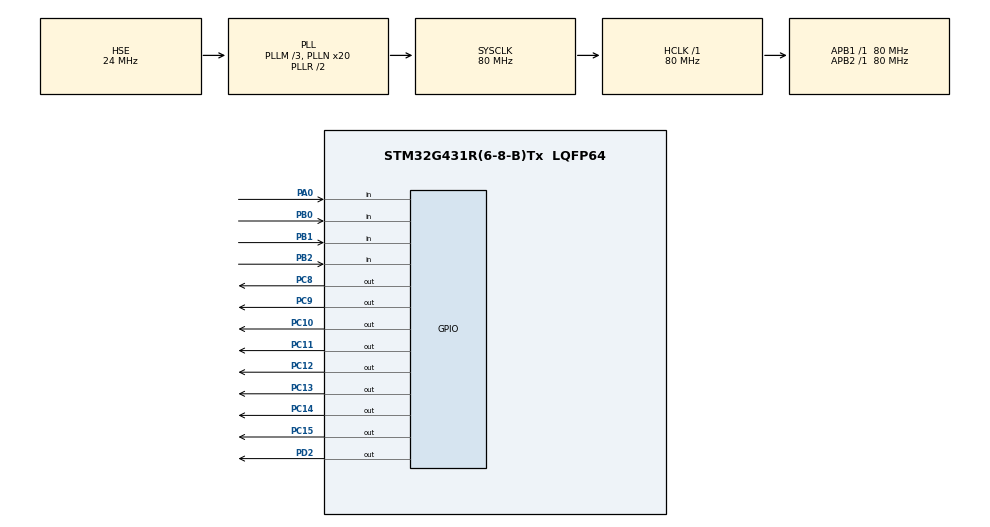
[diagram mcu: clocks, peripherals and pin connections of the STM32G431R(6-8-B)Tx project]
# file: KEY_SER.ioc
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Mcu.Family=STM32G4
Mcu.Name=STM32G431R(6-8-B)Tx
Mcu.Package=LQFP64
NVIC.PriorityGroup=NVIC_PRIORITYGROUP_4
PA0.GPIO_PuPd=GPIO_PULLUP
PA0.Signal=GPIO_Input
PA13.Mode=Serial_Wire
PA13.Signal=SYS_JTMS-SWDIO
PA14.Mode=Serial_Wire
PA14.Signal=SYS_JTCK-SWCLK
PB0.GPIO_PuPd=GPIO_PULLUP
PB0.Signal=GPIO_Input
PB1.GPIO_PuPd=GPIO_PULLUP
PB1.Signal=GPIO_Input
PB2.GPIO_PuPd=GPIO_PULLUP
PB2.Signal=GPIO_Input
PC10.Signal=GPIO_Output
PC11.Signal=GPIO_Output
PC12.Signal=GPIO_Output
PC13.Signal=GPIO_Output
PC14-OSC32_IN.Signal=GPIO_Output
PC15-OSC32_OUT.Signal=GPIO_Output
PC8.Signal=GPIO_Output
PC9.Signal=GPIO_Output
PD2.Signal=GPIO_Output
PF0-OSC_IN.Mode=HSE-External-Oscillator
PF0-OSC_IN.Signal=RCC_OSC_IN
PF1-OSC_OUT.Mode=HSE-External-Oscillator
PF1-OSC_OUT.Signal=RCC_OSC_OUT
ProjectManager.HeapSize=0x200
ProjectManager.StackSize=0x400
ProjectManager.TargetToolchain=MDK-ARM V5.32
RCC.ADC12Freq_Value=80000000
RCC.AHBFreq_Value=80000000
RCC.APB1Freq_Value=80000000
RCC.APB1TimFreq_Value=80000000
RCC.APB2Freq_Value=80000000
RCC.APB2TimFreq_Value=80000000
RCC.CortexFreq_Value=80000000
RCC.EXTERNAL_CLOCK_VALUE=12288000
RCC.HCLKFreq_Value=80000000
RCC.HSE_VALUE=24000000
RCC.HSI48_VALUE=48000000
RCC.HSI_VALUE=16000000
RCC.LSE_VALUE=32768
RCC.PLLM=RCC_PLLM_DIV3
RCC.PLLN=20
RCC.PLLSourceVirtual=RCC_PLLSOURCE_HSE
RCC.SYSCLKFreq_VALUE=80000000
RCC.SYSCLKSource=RCC_SYSCLKSOURCE_PLLCLK
RCC.USBFreq_Value=80000000
RCC.VCOOutputFreq_Value=160000000
VP_SYS_VS_DBSignals.Mode=DisableDeadBatterySignals
board=custom

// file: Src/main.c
/* USER CODE BEGIN Header */
/**
  ******************************************************************************
  * @file           : main.c
  * @brief          : Main program body
  ******************************************************************************
  * @attention
  *
  * Copyright (c) 2024 STMicroelectronics.
  * All rights reserved.
  *
  * This software is licensed under terms that can be found in the LICENSE file
  * in the root directory of this software component.
  * If no LICENSE file comes with this software, it is provided AS-IS.
  *
  ******************************************************************************
  */
/* USER CODE END Header */
#include "main.h"
#include "gpio.h"

/* USER CODE BEGIN PD */
uint8_t KEY_Read()
{
  uint8_t key_value;
	if(HAL_GPIO_ReadPin(GPIOA,GPIO_PIN_0)==0)
	{
	  HAL_Delay(100);   //����
		  if(HAL_GPIO_ReadPin(GPIOA,GPIO_PIN_0)==0)
			{
			key_value=4;
			}
	 }
if(HAL_GPIO_ReadPin(GPIOB,GPIO_PIN_0)==0)
	{
	  HAL_Delay(100);   //����
		  if(HAL_GPIO_ReadPin(GPIOB,GPIO_PIN_0)==0)
			{
			key_value=1;
			}
	 }
	if(HAL_GPIO_ReadPin(GPIOB,GPIO_PIN_1)==0)
	{
	  HAL_Delay(100);   //����
		  if(HAL_GPIO_ReadPin(GPIOB,GPIO_PIN_1)==0)
			{
			key_value=2;
			}
	 }
	if(HAL_GPIO_ReadPin(GPIOB,GPIO_PIN_2)==0)
	{
	  HAL_Delay(100);   //����
		  if(HAL_GPIO_ReadPin(GPIOB,GPIO_PIN_2)==0)
			{
			key_value=3;
			}
	 }

     return key_value;

}

/* USER CODE END PD */

void SystemClock_Config(void);

int main(void)
{

  /* MCU Configuration--------------------------------------------------------*/

  /* Reset of all peripherals, Initializes the Flash interface and the Systick. */
  HAL_Init();

  /* Configure the system clock */
  SystemClock_Config();

  /* USER CODE BEGIN SysInit */
     uint8_t KEY;
  /* USER CODE END SysInit */

  /* Initialize all configured peripherals */
  MX_GPIO_Init();
  /* USER CODE BEGIN 2 */
   HAL_GPIO_WritePin(GPIOD,GPIO_PIN_2,1);
  /* USER CODE END 2 */

  /* Infinite loop */
  /* USER CODE BEGIN WHILE */
  while (1)
  {
		KEY=KEY_Read();
		switch(KEY){

			case 1:

			HAL_GPIO_TogglePin(GPIOC,GPIO_PIN_8|GPIO_PIN_9|GPIO_PIN_10|GPIO_PIN_11);
			break;
			case 2:

			HAL_GPIO_TogglePin(GPIOC,GPIO_PIN_12|GPIO_PIN_13|GPIO_PIN_14|GPIO_PIN_15);

			break;
			case 3:

			HAL_GPIO_TogglePin(GPIOC,GPIO_PIN_All);
			break;
			case 4:

			break;

//		break;
		}

    /* USER CODE END WHILE */

  }
}

void SystemClock_Config(void)
{
  RCC_OscInitTypeDef RCC_OscInitStruct = {0};
  RCC_ClkInitTypeDef RCC_ClkInitStruct = {0};

  /** Configure the main internal regulator output voltage
  */
  HAL_PWREx_ControlVoltageScaling(PWR_REGULATOR_VOLTAGE_SCALE1);

  /** Initializes the RCC Oscillators according to the specified parameters
  * in the RCC_OscInitTypeDef structure.
  */
  RCC_OscInitStruct.OscillatorType = RCC_OSCILLATORTYPE_HSE;
  RCC_OscInitStruct.HSEState = RCC_HSE_ON;
  RCC_OscInitStruct.PLL.PLLState = RCC_PLL_ON;
  RCC_OscInitStruct.PLL.PLLSource = RCC_PLLSOURCE_HSE;
  RCC_OscInitStruct.PLL.PLLM = RCC_PLLM_DIV3;
  RCC_OscInitStruct.PLL.PLLN = 20;
  RCC_OscInitStruct.PLL.PLLP = RCC_PLLP_DIV2;
  RCC_OscInitStruct.PLL.PLLQ = RCC_PLLQ_DIV2;
  RCC_OscInitStruct.PLL.PLLR = RCC_PLLR_DIV2;
  if (HAL_RCC_OscConfig(&RCC_OscInitStruct) != HAL_OK)
  {
    Error_Handler();
  }

  /** Initializes the CPU, AHB and APB buses clocks
  */
  RCC_ClkInitStruct.ClockType = RCC_CLOCKTYPE_HCLK|RCC_CLOCKTYPE_SYSCLK
                              |RCC_CLOCKTYPE_PCLK1|RCC_CLOCKTYPE_PCLK2;
  RCC_ClkInitStruct.SYSCLKSource = RCC_SYSCLKSOURCE_PLLCLK;
  RCC_ClkInitStruct.AHBCLKDivider = RCC_SYSCLK_DIV1;
  RCC_ClkInitStruct.APB1CLKDivider = RCC_HCLK_DIV1;
  RCC_ClkInitStruct.APB2CLKDivider = RCC_HCLK_DIV1;

  if (HAL_RCC_ClockConfig(&RCC_ClkInitStruct, FLASH_LATENCY_2) != HAL_OK)
  {
    Error_Handler();
  }
}

void Error_Handler(void)
{
  __disable_irq();
  while (1)
  {
  }
}
